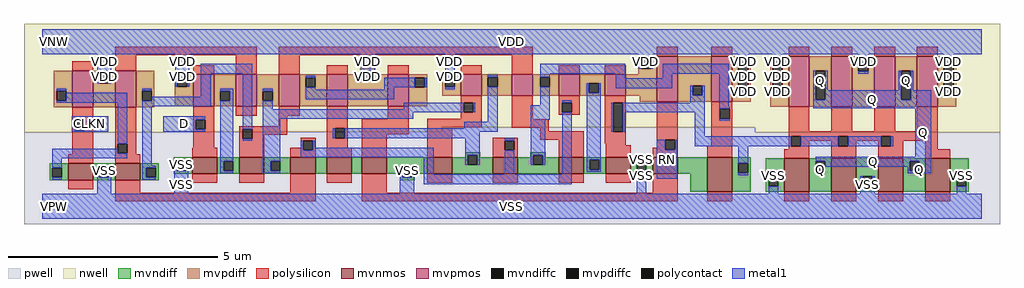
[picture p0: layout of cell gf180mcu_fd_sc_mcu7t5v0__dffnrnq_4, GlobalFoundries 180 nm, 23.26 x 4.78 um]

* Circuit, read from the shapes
.subckt gf180mcu_fd_sc_mcu7t5v0__dffnrnq_4 D RN CLKN Q VDD VNW VPW VSS
XM1 VSS CLKN n1 VPW nfet_06v0 w=0.405u l=0.6u
XM2 n2 n1 VSS VPW nfet_06v0 w=0.405u l=0.6u
XM3 n3 D VSS VPW nfet_06v0 w=0.39u l=0.6u
XM4 n4 n2 n3 VPW nfet_06v0 w=0.39u l=0.6u
XM5 n5 n1 n4 VPW nfet_06v0 w=0.39u l=0.6u
XM6 n6 n7 n5 VPW nfet_06v0 w=0.39u l=0.6u
XM7 VSS RN n6 VPW nfet_06v0 w=0.39u l=0.6u
XM8 n7 n4 VSS VPW nfet_06v0 w=0.39u l=0.6u
XM9 n8 n1 n7 VPW nfet_06v0 w=0.39u l=0.6u
XM10 n9 n2 n8 VPW nfet_06v0 w=0.39u l=0.6u
XM11 VSS n10 n9 VPW nfet_06v0 w=0.39u l=0.6u
XM12 n11 RN VSS VPW nfet_06v0 w=0.39u l=0.6u
XM13 n10 n8 n11 VPW nfet_06v0 w=0.825u l=0.6u
XM14 Q n10 VSS VPW nfet_06v0 w=0.795u l=0.6u m=4
XM15 VDD CLKN n1 VNW pfet_06v0 w=0.865u l=0.5u
XM16 n2 n1 VDD VNW pfet_06v0 w=0.865u l=0.5u
XM17 n3 D VDD VNW pfet_06v0 w=0.76u l=0.5u
XM18 n4 n1 n3 VNW pfet_06v0 w=0.76u l=0.5u
XM19 n12 n2 n4 VNW pfet_06v0 w=0.76u l=0.5u
XM20 VDD n7 n12 VNW pfet_06v0 w=0.76u l=0.5u
XM21 n12 RN VDD VNW pfet_06v0 w=0.76u l=0.5u
XM22 n7 n4 VDD VNW pfet_06v0 w=0.505u l=0.5u
XM23 n8 n2 n7 VNW pfet_06v0 w=0.505u l=0.5u
XM24 n9 n1 n8 VNW pfet_06v0 w=0.505u l=0.5u
XM25 VDD n10 n9 VNW pfet_06v0 w=0.505u l=0.5u
XM26 n10 RN VDD VNW pfet_06v0 w=1.095u l=0.5u
XM27 VDD n8 n10 VNW pfet_06v0 w=1.095u l=0.5u
XM28 Q n10 VDD VNW pfet_06v0 w=1.205u l=0.5u m=4
.ends

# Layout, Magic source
magic
tech gf180mcuD
magscale 1 10
<< nwell >>
rect -86 377 4566 870
rect -86 354 1905 377
rect -86 352 592 354
rect 3400 352 4566 377
<< pwell >>
rect 1905 354 3400 377
rect 592 352 3400 354
rect -86 -86 4566 352
<< mvnmos >>
rect 124 124 244 205
rect 348 124 468 205
rect 716 156 836 234
rect 940 156 1060 234
rect 1184 156 1304 234
rect 1356 156 1476 234
rect 1524 156 1644 234
rect 1836 156 1956 234
rect 2148 156 2268 234
rect 2462 156 2582 234
rect 2686 156 2806 234
rect 2910 156 3030 234
rect 3170 69 3290 234
rect 3538 69 3658 228
rect 3762 69 3882 228
rect 3986 69 4106 228
rect 4210 69 4330 228
<< mvpmos >>
rect 144 472 244 645
rect 348 472 448 645
rect 720 476 820 628
rect 924 476 1024 628
rect 1128 476 1228 628
rect 1356 476 1456 628
rect 1648 476 1748 628
rect 1996 527 2096 628
rect 2238 527 2338 628
rect 2463 527 2563 628
rect 2682 527 2782 628
rect 2930 497 3030 716
rect 3190 497 3290 716
rect 3558 475 3658 716
rect 3762 475 3862 716
rect 3966 475 4066 716
rect 4170 475 4270 716
<< mvndiff >>
rect 2016 244 2088 257
rect 2016 234 2029 244
rect 628 215 716 234
rect 36 183 124 205
rect 36 137 49 183
rect 95 137 124 183
rect 36 124 124 137
rect 244 183 348 205
rect 244 137 273 183
rect 319 137 348 183
rect 244 124 348 137
rect 468 183 556 205
rect 468 137 497 183
rect 543 137 556 183
rect 628 169 641 215
rect 687 169 716 215
rect 628 156 716 169
rect 836 215 940 234
rect 836 169 865 215
rect 911 169 940 215
rect 836 156 940 169
rect 1060 215 1184 234
rect 1060 169 1089 215
rect 1135 169 1184 215
rect 1060 156 1184 169
rect 1304 156 1356 234
rect 1476 156 1524 234
rect 1644 183 1836 234
rect 1644 156 1717 183
rect 468 124 556 137
rect 1704 137 1717 156
rect 1763 156 1836 183
rect 1956 198 2029 234
rect 2075 234 2088 244
rect 2328 244 2400 257
rect 2328 234 2341 244
rect 2075 198 2148 234
rect 1956 156 2148 198
rect 2268 198 2341 234
rect 2387 234 2400 244
rect 2387 198 2462 234
rect 2268 156 2462 198
rect 2582 221 2686 234
rect 2582 175 2611 221
rect 2657 175 2686 221
rect 2582 156 2686 175
rect 2806 215 2910 234
rect 2806 169 2835 215
rect 2881 169 2910 215
rect 2806 156 2910 169
rect 3030 156 3170 234
rect 1763 137 1776 156
rect 1704 124 1776 137
rect 3090 69 3170 156
rect 3290 205 3378 234
rect 3290 159 3319 205
rect 3365 159 3378 205
rect 3290 69 3378 159
rect 3450 142 3538 228
rect 3450 96 3463 142
rect 3509 96 3538 142
rect 3450 69 3538 96
rect 3658 215 3762 228
rect 3658 169 3687 215
rect 3733 169 3762 215
rect 3658 69 3762 169
rect 3882 142 3986 228
rect 3882 96 3911 142
rect 3957 96 3986 142
rect 3882 69 3986 96
rect 4106 215 4210 228
rect 4106 169 4135 215
rect 4181 169 4210 215
rect 4106 69 4210 169
rect 4330 142 4418 228
rect 4330 96 4359 142
rect 4405 96 4418 142
rect 4330 69 4418 96
<< mvpdiff >>
rect 56 550 144 645
rect 56 504 69 550
rect 115 504 144 550
rect 56 472 144 504
rect 244 632 348 645
rect 244 586 273 632
rect 319 586 348 632
rect 244 472 348 586
rect 448 550 536 645
rect 1516 647 1588 660
rect 1516 628 1529 647
rect 448 504 477 550
rect 523 504 536 550
rect 448 472 536 504
rect 632 615 720 628
rect 632 569 645 615
rect 691 569 720 615
rect 632 476 720 569
rect 820 549 924 628
rect 820 503 849 549
rect 895 503 924 549
rect 820 476 924 503
rect 1024 549 1128 628
rect 1024 503 1053 549
rect 1099 503 1128 549
rect 1024 476 1128 503
rect 1228 612 1356 628
rect 1228 566 1257 612
rect 1303 566 1356 612
rect 1228 476 1356 566
rect 1456 601 1529 628
rect 1575 628 1588 647
rect 2842 702 2930 716
rect 2842 656 2855 702
rect 2901 656 2930 702
rect 2842 628 2930 656
rect 1575 601 1648 628
rect 1456 476 1648 601
rect 1748 612 1836 628
rect 1748 566 1777 612
rect 1823 566 1836 612
rect 1748 476 1836 566
rect 1908 615 1996 628
rect 1908 569 1921 615
rect 1967 569 1996 615
rect 1908 527 1996 569
rect 2096 615 2238 628
rect 2096 569 2125 615
rect 2171 569 2238 615
rect 2096 527 2238 569
rect 2338 615 2463 628
rect 2338 569 2375 615
rect 2421 569 2463 615
rect 2338 527 2463 569
rect 2563 586 2682 628
rect 2563 540 2607 586
rect 2653 540 2682 586
rect 2563 527 2682 540
rect 2782 527 2930 628
rect 2850 497 2930 527
rect 3030 574 3190 716
rect 3030 528 3101 574
rect 3147 528 3190 574
rect 3030 497 3190 528
rect 3290 689 3378 716
rect 3290 549 3319 689
rect 3365 549 3378 689
rect 3290 497 3378 549
rect 3470 689 3558 716
rect 3470 549 3483 689
rect 3529 549 3558 689
rect 3470 475 3558 549
rect 3658 647 3762 716
rect 3658 507 3687 647
rect 3733 507 3762 647
rect 3658 475 3762 507
rect 3862 689 3966 716
rect 3862 643 3891 689
rect 3937 643 3966 689
rect 3862 475 3966 643
rect 4066 647 4170 716
rect 4066 507 4095 647
rect 4141 507 4170 647
rect 4066 475 4170 507
rect 4270 689 4358 716
rect 4270 549 4299 689
rect 4345 549 4358 689
rect 4270 475 4358 549
<< mvndiffc >>
rect 49 137 95 183
rect 273 137 319 183
rect 497 137 543 183
rect 641 169 687 215
rect 865 169 911 215
rect 1089 169 1135 215
rect 1717 137 1763 183
rect 2029 198 2075 244
rect 2341 198 2387 244
rect 2611 175 2657 221
rect 2835 169 2881 215
rect 3319 159 3365 205
rect 3463 96 3509 142
rect 3687 169 3733 215
rect 3911 96 3957 142
rect 4135 169 4181 215
rect 4359 96 4405 142
<< mvpdiffc >>
rect 69 504 115 550
rect 273 586 319 632
rect 477 504 523 550
rect 645 569 691 615
rect 849 503 895 549
rect 1053 503 1099 549
rect 1257 566 1303 612
rect 1529 601 1575 647
rect 2855 656 2901 702
rect 1777 566 1823 612
rect 1921 569 1967 615
rect 2125 569 2171 615
rect 2375 569 2421 615
rect 2607 540 2653 586
rect 3101 528 3147 574
rect 3319 549 3365 689
rect 3483 549 3529 689
rect 3687 507 3733 647
rect 3891 643 3937 689
rect 4095 507 4141 647
rect 4299 549 4345 689
<< polysilicon >>
rect 348 720 1024 760
rect 144 645 244 690
rect 348 645 448 720
rect 720 628 820 672
rect 924 628 1024 720
rect 1128 720 2338 760
rect 1128 628 1228 720
rect 1356 628 1456 672
rect 1648 628 1748 672
rect 1996 628 2096 672
rect 2238 628 2338 720
rect 2930 716 3030 760
rect 3190 716 3290 760
rect 3558 716 3658 760
rect 3762 716 3862 760
rect 3966 716 4066 760
rect 4170 716 4270 760
rect 2463 628 2563 672
rect 2682 628 2782 672
rect 1996 494 2096 527
rect 144 409 244 472
rect 144 363 157 409
rect 203 363 244 409
rect 144 249 244 363
rect 124 205 244 249
rect 348 299 448 472
rect 348 253 361 299
rect 407 253 448 299
rect 720 412 820 476
rect 924 432 1024 476
rect 1128 432 1228 476
rect 720 366 733 412
rect 779 366 820 412
rect 1128 381 1168 432
rect 720 278 820 366
rect 940 368 1168 381
rect 940 322 957 368
rect 1003 341 1168 368
rect 1356 371 1456 476
rect 1648 416 1748 476
rect 1996 448 2009 494
rect 2055 448 2096 494
rect 1996 416 2096 448
rect 1003 322 1060 341
rect 348 249 448 253
rect 348 205 468 249
rect 716 234 836 278
rect 940 234 1060 322
rect 1232 313 1304 326
rect 1232 278 1245 313
rect 1184 267 1245 278
rect 1291 267 1304 313
rect 1184 234 1304 267
rect 1356 325 1397 371
rect 1443 325 1456 371
rect 1356 278 1456 325
rect 1524 343 1748 416
rect 1836 376 2096 416
rect 2238 414 2338 527
rect 2463 494 2563 527
rect 2463 448 2479 494
rect 2525 448 2563 494
rect 2463 435 2563 448
rect 2682 494 2782 527
rect 1356 234 1476 278
rect 1524 234 1644 343
rect 1836 234 1956 376
rect 2238 374 2415 414
rect 2375 357 2415 374
rect 2148 313 2268 326
rect 2375 317 2582 357
rect 2148 267 2205 313
rect 2251 267 2268 313
rect 124 80 244 124
rect 348 64 468 124
rect 716 112 836 156
rect 940 112 1060 156
rect 1184 64 1304 156
rect 1356 112 1476 156
rect 348 24 1304 64
rect 1524 64 1644 156
rect 2148 234 2268 267
rect 2462 234 2582 317
rect 2682 354 2723 494
rect 2769 354 2782 494
rect 2682 301 2782 354
rect 2686 291 2782 301
rect 2930 316 3030 497
rect 2686 234 2806 291
rect 2930 278 2971 316
rect 2910 270 2971 278
rect 3017 270 3030 316
rect 3190 464 3290 497
rect 3190 418 3231 464
rect 3277 418 3290 464
rect 3190 288 3290 418
rect 2910 234 3030 270
rect 3170 234 3290 288
rect 3558 357 3658 475
rect 3762 357 3862 475
rect 3966 357 4066 475
rect 4170 357 4270 475
rect 3558 333 4270 357
rect 3558 287 3571 333
rect 3617 311 3796 333
rect 3617 287 3658 311
rect 3558 272 3658 287
rect 1836 112 1956 156
rect 2148 112 2268 156
rect 2462 112 2582 156
rect 2686 112 2806 156
rect 2910 64 3030 156
rect 3538 228 3658 272
rect 3762 287 3796 311
rect 3842 311 3999 333
rect 3842 287 3882 311
rect 3762 228 3882 287
rect 3986 287 3999 311
rect 4045 311 4270 333
rect 4045 287 4106 311
rect 3986 228 4106 287
rect 4210 272 4270 311
rect 4210 228 4330 272
rect 1524 24 3030 64
rect 3170 24 3290 69
rect 3538 24 3658 69
rect 3762 24 3882 69
rect 3986 24 4106 69
rect 4210 24 4330 69
<< polycontact >>
rect 157 363 203 409
rect 361 253 407 299
rect 733 366 779 412
rect 957 322 1003 368
rect 2009 448 2055 494
rect 1245 267 1291 313
rect 1397 325 1443 371
rect 2479 448 2525 494
rect 2205 267 2251 313
rect 2723 354 2769 494
rect 2971 270 3017 316
rect 3231 418 3277 464
rect 3571 287 3617 333
rect 3796 287 3842 333
rect 3999 287 4045 333
<< metal1 >>
rect 0 724 4480 844
rect 262 632 330 724
rect 262 586 273 632
rect 319 586 330 632
rect 634 615 702 724
rect 634 569 645 615
rect 691 569 702 615
rect 757 632 1003 678
rect 69 550 115 561
rect 477 550 523 561
rect 115 504 407 540
rect 69 493 407 504
rect 142 409 315 430
rect 142 363 157 409
rect 203 363 315 409
rect 142 354 315 363
rect 361 299 407 493
rect 49 253 361 275
rect 49 229 407 253
rect 757 522 803 632
rect 523 504 803 522
rect 477 476 803 504
rect 849 549 911 560
rect 895 503 911 549
rect 49 183 95 229
rect 477 194 523 476
rect 578 412 779 430
rect 578 366 733 412
rect 578 354 779 366
rect 849 215 911 503
rect 957 368 1003 632
rect 1518 647 1586 724
rect 1257 612 1303 623
rect 1518 601 1529 647
rect 1575 601 1586 647
rect 1921 615 1967 724
rect 2844 702 2912 724
rect 2375 632 2780 678
rect 2844 656 2855 702
rect 2901 656 2912 702
rect 3319 689 3365 724
rect 957 311 1003 322
rect 1053 549 1099 560
rect 1257 555 1303 566
rect 1632 566 1777 612
rect 1823 566 1834 612
rect 1632 555 1678 566
rect 1921 558 1967 569
rect 2125 615 2171 626
rect 1257 509 1678 555
rect 1053 463 1099 503
rect 1724 463 2009 494
rect 1053 448 2009 463
rect 2055 448 2066 494
rect 1053 417 1770 448
rect 477 183 543 194
rect 49 126 95 137
rect 262 137 273 183
rect 319 137 330 183
rect 262 60 330 137
rect 477 137 497 183
rect 477 126 543 137
rect 630 169 641 215
rect 687 169 698 215
rect 630 60 698 169
rect 849 169 865 215
rect 849 158 911 169
rect 1053 215 1135 417
rect 2125 402 2171 569
rect 2375 615 2421 632
rect 2734 610 2780 632
rect 2958 631 3273 678
rect 2958 610 3004 631
rect 2375 481 2421 569
rect 2596 540 2607 586
rect 2653 540 2664 586
rect 2734 563 3004 610
rect 2012 371 2171 402
rect 1386 325 1397 371
rect 1443 356 2171 371
rect 2329 413 2421 481
rect 2479 494 2525 505
rect 1443 325 2086 356
rect 1234 267 1245 313
rect 1291 279 1303 313
rect 1291 267 1866 279
rect 1234 233 1866 267
rect 1053 169 1089 215
rect 1053 158 1135 169
rect 1706 137 1717 183
rect 1763 137 1774 183
rect 1706 60 1774 137
rect 1820 152 1866 233
rect 2018 244 2086 325
rect 2018 198 2029 244
rect 2075 198 2086 244
rect 2205 313 2251 324
rect 2205 152 2251 267
rect 2329 244 2399 413
rect 2329 198 2341 244
rect 2387 198 2399 244
rect 2479 152 2525 448
rect 2596 221 2664 540
rect 3090 528 3101 574
rect 3147 528 3158 574
rect 3090 494 3158 528
rect 2712 354 2723 494
rect 2769 447 3158 494
rect 2769 354 2780 447
rect 3112 333 3158 447
rect 3227 475 3273 631
rect 3319 538 3365 549
rect 3483 689 3529 724
rect 3891 689 3937 724
rect 3483 538 3529 549
rect 3676 507 3687 647
rect 3733 553 3744 647
rect 4299 689 4345 724
rect 3891 632 3937 643
rect 4084 553 4095 647
rect 3733 507 4095 553
rect 4141 553 4152 647
rect 4141 507 4238 553
rect 4299 538 4345 549
rect 3227 464 3277 475
rect 3676 466 4238 507
rect 3227 418 3231 464
rect 3227 407 3277 418
rect 2930 316 3028 318
rect 2930 270 2971 316
rect 3017 270 3028 316
rect 3112 287 3571 333
rect 3617 287 3796 333
rect 3842 287 3999 333
rect 4045 287 4056 333
rect 2596 175 2611 221
rect 2657 175 2664 221
rect 2596 164 2664 175
rect 2835 215 2881 226
rect 1820 106 2525 152
rect 2835 60 2881 169
rect 2930 130 3028 270
rect 3319 205 3365 287
rect 4162 235 4238 466
rect 3319 148 3365 159
rect 3687 215 4238 235
rect 3733 189 4135 215
rect 3687 158 3733 169
rect 4127 169 4135 189
rect 4181 169 4238 215
rect 4127 158 4238 169
rect 3463 142 3509 153
rect 3463 60 3509 96
rect 3900 142 3968 143
rect 3900 96 3911 142
rect 3957 96 3968 142
rect 3900 60 3968 96
rect 4359 142 4405 153
rect 4359 60 4405 96
rect 0 -60 4480 60
<< labels >>
flabel metal1 s 578 354 779 430 0 FreeSans 600 0 0 0 D
port 1 nsew default input
flabel metal1 s 4084 553 4152 647 0 FreeSans 600 0 0 0 Q
port 4 nsew default output
flabel metal1 s 2930 130 3028 318 0 FreeSans 600 0 0 0 RN
port 2 nsew default input
flabel metal1 s 0 724 4480 844 0 FreeSans 600 0 0 0 VDD
port 5 nsew power bidirectional abutment
flabel metal1 s 2835 215 2881 226 0 FreeSans 600 0 0 0 VSS
port 8 nsew ground bidirectional abutment
flabel metal1 s 142 354 315 430 0 FreeSans 600 0 0 0 CLKN
port 3 nsew clock input
flabel nwell s 10 734 110 834 0 FreeSans 400 0 0 0 VNW
port 6 nsew power bidirectional
flabel pwell s 10 -50 110 50 0 FreeSans 400 0 0 0 VPW
port 7 nsew ground bidirectional
rlabel metal1 s 3676 553 3744 647 1 Q
port 4 nsew default output
rlabel metal1 s 3676 466 4238 553 1 Q
port 4 nsew default output
rlabel metal1 s 4162 235 4238 466 1 Q
port 4 nsew default output
rlabel metal1 s 3687 189 4238 235 1 Q
port 4 nsew default output
rlabel metal1 s 4127 158 4238 189 1 Q
port 4 nsew default output
rlabel metal1 s 3687 158 3733 189 1 Q
port 4 nsew default output
rlabel metal1 s 4299 656 4345 724 1 VDD
port 5 nsew power bidirectional abutment
rlabel metal1 s 3891 656 3937 724 1 VDD
port 5 nsew power bidirectional abutment
rlabel metal1 s 3483 656 3529 724 1 VDD
port 5 nsew power bidirectional abutment
rlabel metal1 s 3319 656 3365 724 1 VDD
port 5 nsew power bidirectional abutment
rlabel metal1 s 2844 656 2912 724 1 VDD
port 5 nsew power bidirectional abutment
rlabel metal1 s 1921 656 1967 724 1 VDD
port 5 nsew power bidirectional abutment
rlabel metal1 s 1518 656 1586 724 1 VDD
port 5 nsew power bidirectional abutment
rlabel metal1 s 634 656 702 724 1 VDD
port 5 nsew power bidirectional abutment
rlabel metal1 s 262 656 330 724 1 VDD
port 5 nsew power bidirectional abutment
rlabel metal1 s 4299 632 4345 656 1 VDD
port 5 nsew power bidirectional abutment
rlabel metal1 s 3891 632 3937 656 1 VDD
port 5 nsew power bidirectional abutment
rlabel metal1 s 3483 632 3529 656 1 VDD
port 5 nsew power bidirectional abutment
rlabel metal1 s 3319 632 3365 656 1 VDD
port 5 nsew power bidirectional abutment
rlabel metal1 s 1921 632 1967 656 1 VDD
port 5 nsew power bidirectional abutment
rlabel metal1 s 1518 632 1586 656 1 VDD
port 5 nsew power bidirectional abutment
rlabel metal1 s 634 632 702 656 1 VDD
port 5 nsew power bidirectional abutment
rlabel metal1 s 262 632 330 656 1 VDD
port 5 nsew power bidirectional abutment
rlabel metal1 s 4299 601 4345 632 1 VDD
port 5 nsew power bidirectional abutment
rlabel metal1 s 3483 601 3529 632 1 VDD
port 5 nsew power bidirectional abutment
rlabel metal1 s 3319 601 3365 632 1 VDD
port 5 nsew power bidirectional abutment
rlabel metal1 s 1921 601 1967 632 1 VDD
port 5 nsew power bidirectional abutment
rlabel metal1 s 1518 601 1586 632 1 VDD
port 5 nsew power bidirectional abutment
rlabel metal1 s 634 601 702 632 1 VDD
port 5 nsew power bidirectional abutment
rlabel metal1 s 262 601 330 632 1 VDD
port 5 nsew power bidirectional abutment
rlabel metal1 s 4299 586 4345 601 1 VDD
port 5 nsew power bidirectional abutment
rlabel metal1 s 3483 586 3529 601 1 VDD
port 5 nsew power bidirectional abutment
rlabel metal1 s 3319 586 3365 601 1 VDD
port 5 nsew power bidirectional abutment
rlabel metal1 s 1921 586 1967 601 1 VDD
port 5 nsew power bidirectional abutment
rlabel metal1 s 634 586 702 601 1 VDD
port 5 nsew power bidirectional abutment
rlabel metal1 s 262 586 330 601 1 VDD
port 5 nsew power bidirectional abutment
rlabel metal1 s 4299 569 4345 586 1 VDD
port 5 nsew power bidirectional abutment
rlabel metal1 s 3483 569 3529 586 1 VDD
port 5 nsew power bidirectional abutment
rlabel metal1 s 3319 569 3365 586 1 VDD
port 5 nsew power bidirectional abutment
rlabel metal1 s 1921 569 1967 586 1 VDD
port 5 nsew power bidirectional abutment
rlabel metal1 s 634 569 702 586 1 VDD
port 5 nsew power bidirectional abutment
rlabel metal1 s 4299 558 4345 569 1 VDD
port 5 nsew power bidirectional abutment
rlabel metal1 s 3483 558 3529 569 1 VDD
port 5 nsew power bidirectional abutment
rlabel metal1 s 3319 558 3365 569 1 VDD
port 5 nsew power bidirectional abutment
rlabel metal1 s 1921 558 1967 569 1 VDD
port 5 nsew power bidirectional abutment
rlabel metal1 s 4299 538 4345 558 1 VDD
port 5 nsew power bidirectional abutment
rlabel metal1 s 3483 538 3529 558 1 VDD
port 5 nsew power bidirectional abutment
rlabel metal1 s 3319 538 3365 558 1 VDD
port 5 nsew power bidirectional abutment
rlabel metal1 s 2835 183 2881 215 1 VSS
port 8 nsew ground bidirectional abutment
rlabel metal1 s 630 183 698 215 1 VSS
port 8 nsew ground bidirectional abutment
rlabel metal1 s 2835 153 2881 183 1 VSS
port 8 nsew ground bidirectional abutment
rlabel metal1 s 1706 153 1774 183 1 VSS
port 8 nsew ground bidirectional abutment
rlabel metal1 s 630 153 698 183 1 VSS
port 8 nsew ground bidirectional abutment
rlabel metal1 s 262 153 330 183 1 VSS
port 8 nsew ground bidirectional abutment
rlabel metal1 s 4359 143 4405 153 1 VSS
port 8 nsew ground bidirectional abutment
rlabel metal1 s 3463 143 3509 153 1 VSS
port 8 nsew ground bidirectional abutment
rlabel metal1 s 2835 143 2881 153 1 VSS
port 8 nsew ground bidirectional abutment
rlabel metal1 s 1706 143 1774 153 1 VSS
port 8 nsew ground bidirectional abutment
rlabel metal1 s 630 143 698 153 1 VSS
port 8 nsew ground bidirectional abutment
rlabel metal1 s 262 143 330 153 1 VSS
port 8 nsew ground bidirectional abutment
rlabel metal1 s 4359 60 4405 143 1 VSS
port 8 nsew ground bidirectional abutment
rlabel metal1 s 3900 60 3968 143 1 VSS
port 8 nsew ground bidirectional abutment
rlabel metal1 s 3463 60 3509 143 1 VSS
port 8 nsew ground bidirectional abutment
rlabel metal1 s 2835 60 2881 143 1 VSS
port 8 nsew ground bidirectional abutment
rlabel metal1 s 1706 60 1774 143 1 VSS
port 8 nsew ground bidirectional abutment
rlabel metal1 s 630 60 698 143 1 VSS
port 8 nsew ground bidirectional abutment
rlabel metal1 s 262 60 330 143 1 VSS
port 8 nsew ground bidirectional abutment
rlabel metal1 s 0 -60 4480 60 1 VSS
port 8 nsew ground bidirectional abutment
<< properties >>
string FIXED_BBOX 0 0 4480 784
string GDS_END 909282
string GDS_FILE $PDKPATH/libs.ref/gf180mcu_fd_sc_mcu7t5v0/gds/gf180mcu_fd_sc_mcu7t5v0.gds
string GDS_START 899632
string LEFclass core
string LEFsite GF018hv5v_mcu_sc7
string LEFsymmetry X Y
<< end >>
